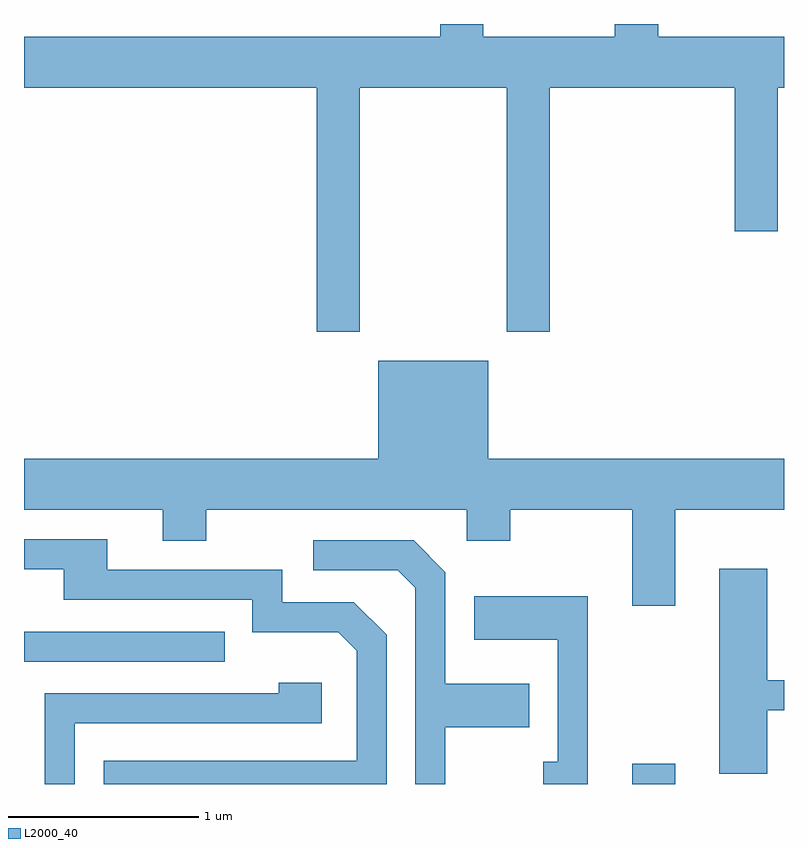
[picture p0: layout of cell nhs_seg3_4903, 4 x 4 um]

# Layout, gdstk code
import gdstk
lib = gdstk.Library(unit=1e-6, precision=1e-09)
def R(c, l, rs):  # rectangles x0, y0, x1, y1
    for r in rs: c.add(gdstk.rectangle(r[:2], r[2:], *l))
def P(c, l, *ps):  # polygons
    for p in ps: c.add(gdstk.Polygon(p, *l))
L2000_40 = (2000, 40)

nhs_seg3_4903 = lib.new_cell('nhs_seg3_4903')
R(nhs_seg3_4903, L2000_40, [(332.811,1137.892,333.039,1137.999), (329.611,1138.536,330.668,1138.694)])
P(nhs_seg3_4903, L2000_40, [(331.379,1141.556),(332.151,1141.556),(332.151,1140.271),(332.379,1140.271),(332.379,1141.556),(333.351,1141.556),(333.351,1140.801),(333.579,1140.801),(333.579,1141.556),(333.611,1141.556),(333.611,1141.824),(332.949,1141.824),(332.949,1141.892),(332.721,1141.892),(332.721,1141.824),(332.029,1141.824),(332.029,1141.892),(331.801,1141.892),(331.801,1141.824),(329.611,1141.824),(329.611,1141.556),(331.151,1141.556),(331.151,1140.271),(331.379,1140.271)],
  [(333.039,1139.336),(333.611,1139.336),(333.611,1139.604),(332.054,1139.604),(332.054,1140.119),(331.476,1140.119),(331.476,1139.604),(329.611,1139.604),(329.611,1139.336),(330.341,1139.336),(330.341,1139.171),(330.569,1139.171),(330.569,1139.336),(331.941,1139.336),(331.941,1139.171),(332.169,1139.171),(332.169,1139.336),(332.811,1139.336),(332.811,1138.831),(333.039,1138.831)],
  [(331.519,1138.677),(331.347,1138.849),(330.969,1138.849),(330.969,1139.019),(330.049,1139.019),(330.049,1139.179),(329.611,1139.179),(329.611,1139.021),(329.821,1139.021),(329.821,1138.861),(330.811,1138.861),(330.811,1138.691),(331.264,1138.691),(331.361,1138.594),(331.361,1138.014),(330.031,1138.014),(330.031,1137.892),(331.519,1137.892)],
  [(331.829,1138.191),(332.269,1138.191),(332.269,1138.419),(331.829,1138.419),(331.829,1139.007),(331.662,1139.174),(331.133,1139.174),(331.133,1139.016),(331.579,1139.016),(331.671,1138.924),(331.671,1137.892),(331.829,1137.892)],
  [(333.524,1138.281),(333.611,1138.281),(333.611,1138.439),(333.524,1138.439),(333.524,1139.024),(333.271,1139.024),(333.271,1137.946),(333.524,1137.946)],
  [(332.579,1138.879),(331.981,1138.879),(331.981,1138.651),(332.421,1138.651),(332.421,1138.009),(332.343,1138.009),(332.343,1137.892),(332.579,1137.892)],
  [(329.879,1138.211),(331.179,1138.211),(331.179,1138.424),(330.951,1138.424),(330.951,1138.369),(329.721,1138.369),(329.721,1137.892),(329.879,1137.892)])

lib.write_gds('nhs_seg3_4903.gds')
